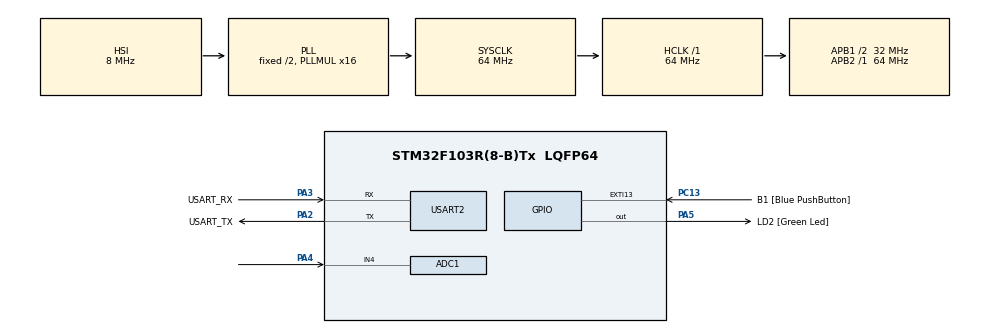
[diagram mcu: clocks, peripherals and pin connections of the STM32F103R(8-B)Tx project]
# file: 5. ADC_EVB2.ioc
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ADC1.Channel-0\#ChannelRegularConversion=ADC_CHANNEL_4
ADC1.ContinuousConvMode=ENABLE
ADC1.NbrOfConversionFlag=1
ADC1.Rank-0\#ChannelRegularConversion=1
ADC1.SamplingTime-0\#ChannelRegularConversion=ADC_SAMPLETIME_239CYCLES_5
ADC1.master=1
Mcu.Family=STM32F1
Mcu.Name=STM32F103R(8-B)Tx
Mcu.Package=LQFP64
NVIC.ADC1_2_IRQn=true\:0\:0\:false\:false\:true\:true\:true\:true
NVIC.EXTI15_10_IRQn=true\:0\:0\:false\:false\:true\:true\:true\:true
NVIC.PriorityGroup=NVIC_PRIORITYGROUP_4
PA13.GPIO_Label=TMS
PA13.Mode=Serial_Wire
PA13.Signal=SYS_JTMS-SWDIO
PA14.GPIO_Label=TCK
PA14.Mode=Serial_Wire
PA14.Signal=SYS_JTCK-SWCLK
PA2.GPIO_Label=USART_TX
PA2.GPIO_Mode=GPIO_MODE_AF_PP
PA2.GPIO_PuPd=GPIO_NOPULL
PA2.GPIO_Speed=GPIO_SPEED_FREQ_LOW
PA2.Mode=Asynchronous
PA2.Signal=USART2_TX
PA3.GPIO_Label=USART_RX
PA3.GPIO_Mode=GPIO_MODE_AF_PP
PA3.GPIO_PuPd=GPIO_NOPULL
PA3.GPIO_Speed=GPIO_SPEED_FREQ_LOW
PA3.Mode=Asynchronous
PA3.Signal=USART2_RX
PA4.Signal=ADCx_IN4
PA5.GPIO_Label=LD2 [Green Led]
PA5.GPIO_ModeDefaultOutputPP=GPIO_MODE_OUTPUT_PP
PA5.GPIO_PuPd=GPIO_NOPULL
PA5.GPIO_Speed=GPIO_SPEED_FREQ_LOW
PA5.Signal=GPIO_Output
PB3.GPIO_Label=SWO
PB3.Signal=SYS_JTDO-TRACESWO
PC13-TAMPER-RTC.GPIO_Label=B1 [Blue PushButton]
PC13-TAMPER-RTC.GPIO_PuPd=GPIO_NOPULL
PC13-TAMPER-RTC.Signal=GPXTI13
PC14-OSC32_IN.Signal=RCC_OSC32_IN
PC15-OSC32_OUT.Signal=RCC_OSC32_OUT
PD0-OSC_IN.Signal=RCC_OSC_IN
PD1-OSC_OUT.Signal=RCC_OSC_OUT
ProjectManager.HeapSize=0x200
ProjectManager.StackSize=0x400
ProjectManager.TargetToolchain=STM32CubeIDE
RCC.ADCPresc=RCC_ADCPCLK2_DIV8
RCC.AHBFreq_Value=64000000
RCC.APB1CLKDivider=RCC_HCLK_DIV2
RCC.APB1Freq_Value=32000000
RCC.APB1TimFreq_Value=64000000
RCC.APB2Freq_Value=64000000
RCC.APB2TimFreq_Value=64000000
RCC.HCLKFreq_Value=64000000
RCC.PLLMUL=RCC_PLL_MUL16
RCC.RTCClockSelection=RCC_RTCCLKSOURCE_LSE
RCC.SYSCLKFreq_VALUE=64000000
RCC.SYSCLKSource=RCC_SYSCLKSOURCE_PLLCLK
RCC.USBFreq_Value=64000000
SH.ADCx_IN4.0=ADC1_IN4,IN4
USART2.VirtualMode=VM_ASYNC
board=NUCLEO-F103RB

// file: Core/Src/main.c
/* USER CODE BEGIN Header */
/**
  ******************************************************************************
  * @file           : main.c
  * @brief          : Main program body
  ******************************************************************************
  * @attention
  *
  * Copyright (c) 2025 STMicroelectronics.
  * All rights reserved.
  *
  * This software is licensed under terms that can be found in the LICENSE file
  * in the root directory of this software component.
  * If no LICENSE file comes with this software, it is provided AS-IS.
  *
  ******************************************************************************
  */
/* USER CODE END Header */
#include "main.h"

/* USER CODE BEGIN Includes */
#include <stdio.h>
/* USER CODE END Includes */

ADC_HandleTypeDef hadc1;

UART_HandleTypeDef huart2;

void SystemClock_Config(void);
static void MX_GPIO_Init(void);
static void MX_USART2_UART_Init(void);
static void MX_ADC1_Init(void);

/* USER CODE BEGIN 0 */
#ifdef __GNUC__
#define PUTCHAR_PROTOTYPE int __io_putchar(int ch)
#else
#define PUTCHAR_PROTOTYPE int fputc(int ch, FILE *f)
#endif

PUTCHAR_PROTOTYPE
{
	if (ch == '\n')
		HAL_UART_Transmit(&huart2, (uint8_t*) "\r", 1, 0xFFFF);
	HAL_UART_Transmit(&huart2, (uint8_t*) &ch, 1, 0xFFFF);

	return ch;
}

int ADC_Temp_V;

/* USER CODE END 0 */

int main(void)
{

  /* MCU Configuration--------------------------------------------------------*/

  /* Reset of all peripherals, Initializes the Flash interface and the Systick. */
  HAL_Init();

  /* Configure the system clock */
  SystemClock_Config();

  /* Initialize all configured peripherals */
  MX_GPIO_Init();
  MX_USART2_UART_Init();
  MX_ADC1_Init();

  /* Infinite loop */
  /* USER CODE BEGIN WHILE */

  if (HAL_ADCEx_Calibration_Start(&hadc1) != HAL_OK)
	  Error_Handler();

  HAL_ADC_Start_IT(&hadc1);

  while (1)
  {
    /* USER CODE END WHILE */

    /* USER CODE BEGIN 3 */
	  printf("Temp: %d\n", ADC_Temp_V);
	  HAL_Delay(100);
  }
  /* USER CODE END 3 */
}

void SystemClock_Config(void)
{
  RCC_OscInitTypeDef RCC_OscInitStruct = {0};
  RCC_ClkInitTypeDef RCC_ClkInitStruct = {0};
  RCC_PeriphCLKInitTypeDef PeriphClkInit = {0};

  /** Initializes the RCC Oscillators according to the specified parameters
  * in the RCC_OscInitTypeDef structure.
  */
  RCC_OscInitStruct.OscillatorType = RCC_OSCILLATORTYPE_HSI;
  RCC_OscInitStruct.HSIState = RCC_HSI_ON;
  RCC_OscInitStruct.HSICalibrationValue = RCC_HSICALIBRATION_DEFAULT;
  RCC_OscInitStruct.PLL.PLLState = RCC_PLL_ON;
  RCC_OscInitStruct.PLL.PLLSource = RCC_PLLSOURCE_HSI_DIV2;
  RCC_OscInitStruct.PLL.PLLMUL = RCC_PLL_MUL16;
  if (HAL_RCC_OscConfig(&RCC_OscInitStruct) != HAL_OK)
  {
    Error_Handler();
  }

  /** Initializes the CPU, AHB and APB buses clocks
  */
  RCC_ClkInitStruct.ClockType = RCC_CLOCKTYPE_HCLK|RCC_CLOCKTYPE_SYSCLK
                              |RCC_CLOCKTYPE_PCLK1|RCC_CLOCKTYPE_PCLK2;
  RCC_ClkInitStruct.SYSCLKSource = RCC_SYSCLKSOURCE_PLLCLK;
  RCC_ClkInitStruct.AHBCLKDivider = RCC_SYSCLK_DIV1;
  RCC_ClkInitStruct.APB1CLKDivider = RCC_HCLK_DIV2;
  RCC_ClkInitStruct.APB2CLKDivider = RCC_HCLK_DIV1;

  if (HAL_RCC_ClockConfig(&RCC_ClkInitStruct, FLASH_LATENCY_2) != HAL_OK)
  {
    Error_Handler();
  }
  PeriphClkInit.PeriphClockSelection = RCC_PERIPHCLK_ADC;
  PeriphClkInit.AdcClockSelection = RCC_ADCPCLK2_DIV8;
  if (HAL_RCCEx_PeriphCLKConfig(&PeriphClkInit) != HAL_OK)
  {
    Error_Handler();
  }
}

static void MX_ADC1_Init(void)
{

  ADC_ChannelConfTypeDef sConfig = {0};

  /** Common config
  */
  hadc1.Instance = ADC1;
  hadc1.Init.ScanConvMode = ADC_SCAN_DISABLE;
  hadc1.Init.ContinuousConvMode = ENABLE;
  hadc1.Init.DiscontinuousConvMode = DISABLE;
  hadc1.Init.ExternalTrigConv = ADC_SOFTWARE_START;
  hadc1.Init.DataAlign = ADC_DATAALIGN_RIGHT;
  hadc1.Init.NbrOfConversion = 1;
  if (HAL_ADC_Init(&hadc1) != HAL_OK)
  {
    Error_Handler();
  }

  /** Configure Regular Channel
  */
  sConfig.Channel = ADC_CHANNEL_4;
  sConfig.Rank = ADC_REGULAR_RANK_1;
  sConfig.SamplingTime = ADC_SAMPLETIME_239CYCLES_5;
  if (HAL_ADC_ConfigChannel(&hadc1, &sConfig) != HAL_OK)
  {
    Error_Handler();
  }

}

static void MX_USART2_UART_Init(void)
{

  huart2.Instance = USART2;
  huart2.Init.BaudRate = 115200;
  huart2.Init.WordLength = UART_WORDLENGTH_8B;
  huart2.Init.StopBits = UART_STOPBITS_1;
  huart2.Init.Parity = UART_PARITY_NONE;
  huart2.Init.Mode = UART_MODE_TX_RX;
  huart2.Init.HwFlowCtl = UART_HWCONTROL_NONE;
  huart2.Init.OverSampling = UART_OVERSAMPLING_16;
  if (HAL_UART_Init(&huart2) != HAL_OK)
  {
    Error_Handler();
  }

}

static void MX_GPIO_Init(void)
{
  GPIO_InitTypeDef GPIO_InitStruct = {0};

  /* GPIO Ports Clock Enable */
  __HAL_RCC_GPIOC_CLK_ENABLE();
  __HAL_RCC_GPIOD_CLK_ENABLE();
  __HAL_RCC_GPIOA_CLK_ENABLE();
  __HAL_RCC_GPIOB_CLK_ENABLE();

  /*Configure GPIO pin Output Level */
  HAL_GPIO_WritePin(LD2_GPIO_Port, LD2_Pin, GPIO_PIN_RESET);

  /*Configure GPIO pin : B1_Pin */
  GPIO_InitStruct.Pin = B1_Pin;
  GPIO_InitStruct.Mode = GPIO_MODE_IT_RISING;
  GPIO_InitStruct.Pull = GPIO_NOPULL;
  HAL_GPIO_Init(B1_GPIO_Port, &GPIO_InitStruct);

  /*Configure GPIO pin : LD2_Pin */
  GPIO_InitStruct.Pin = LD2_Pin;
  GPIO_InitStruct.Mode = GPIO_MODE_OUTPUT_PP;
  GPIO_InitStruct.Pull = GPIO_NOPULL;
  GPIO_InitStruct.Speed = GPIO_SPEED_FREQ_LOW;
  HAL_GPIO_Init(LD2_GPIO_Port, &GPIO_InitStruct);

  /* EXTI interrupt init*/
  HAL_NVIC_SetPriority(EXTI15_10_IRQn, 0, 0);
  HAL_NVIC_EnableIRQ(EXTI15_10_IRQn);

}

/* USER CODE BEGIN 4 */
void HAL_ADC_ConvCpltCallback(ADC_HandleTypeDef* hadc) {
	ADC_Temp_V = HAL_ADC_GetValue(hadc);
}
/* USER CODE END 4 */

void Error_Handler(void)
{
  __disable_irq();
  while (1)
  {
  }
}
